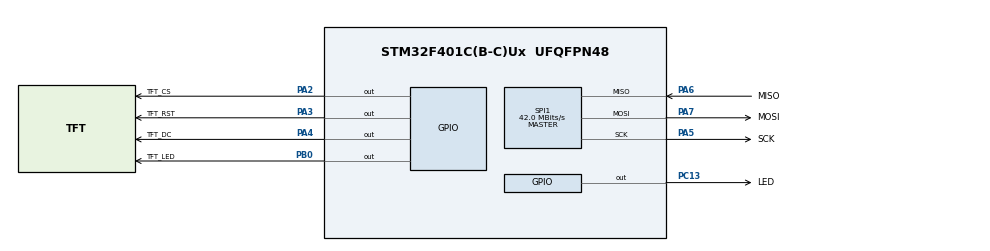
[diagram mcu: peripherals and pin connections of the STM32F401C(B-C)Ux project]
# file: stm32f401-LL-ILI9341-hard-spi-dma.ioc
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Dma.Request0=SPI1_TX
Dma.Request1=SPI1_RX
Dma.SPI1_RX.1.Direction=DMA_PERIPH_TO_MEMORY
Dma.SPI1_RX.1.FIFOMode=DMA_FIFOMODE_DISABLE
Dma.SPI1_RX.1.Instance=DMA2_Stream2
Dma.SPI1_RX.1.MemDataAlignment=DMA_MDATAALIGN_BYTE
Dma.SPI1_RX.1.MemInc=DMA_MINC_ENABLE
Dma.SPI1_RX.1.Mode=DMA_CIRCULAR
Dma.SPI1_RX.1.PeriphDataAlignment=DMA_PDATAALIGN_BYTE
Dma.SPI1_RX.1.PeriphInc=DMA_PINC_DISABLE
Dma.SPI1_RX.1.Priority=DMA_PRIORITY_LOW
Dma.SPI1_TX.0.Direction=DMA_MEMORY_TO_PERIPH
Dma.SPI1_TX.0.FIFOMode=DMA_FIFOMODE_DISABLE
Dma.SPI1_TX.0.Instance=DMA2_Stream3
Dma.SPI1_TX.0.MemDataAlignment=DMA_MDATAALIGN_BYTE
Dma.SPI1_TX.0.MemInc=DMA_MINC_ENABLE
Dma.SPI1_TX.0.Mode=DMA_CIRCULAR
Dma.SPI1_TX.0.PeriphDataAlignment=DMA_PDATAALIGN_BYTE
Dma.SPI1_TX.0.PeriphInc=DMA_PINC_DISABLE
Dma.SPI1_TX.0.Priority=DMA_PRIORITY_LOW
Mcu.Family=STM32F4
Mcu.Name=STM32F401C(B-C)Ux
Mcu.Package=UFQFPN48
NVIC.DMA2_Stream2_IRQn=true\:0\:0\:false\:false\:true\:false\:true
NVIC.DMA2_Stream3_IRQn=true\:0\:0\:false\:false\:true\:false\:true
NVIC.PriorityGroup=NVIC_PRIORITYGROUP_4
NVIC.SPI1_IRQn=true\:0\:0\:false\:false\:true\:true\:true
PA2.GPIO_Label=TFT_CS
PA2.Signal=GPIO_Output
PA3.GPIO_Label=TFT_RST
PA3.Signal=GPIO_Output
PA4.GPIO_Label=TFT_DC
PA4.Signal=GPIO_Output
PA5.GPIO_Label=SCK
PA5.Mode=Full_Duplex_Master
PA5.Signal=SPI1_SCK
PA6.GPIO_Label=MISO
PA6.Mode=Full_Duplex_Master
PA6.Signal=SPI1_MISO
PA7.GPIO_Label=MOSI
PA7.Mode=Full_Duplex_Master
PA7.Signal=SPI1_MOSI
PB0.GPIO_Label=TFT_LED
PB0.Signal=GPIO_Output
PC13-ANTI_TAMP.GPIO_Label=LED
PC13-ANTI_TAMP.Signal=GPIO_Output
ProjectManager.HeapSize=0x2000
ProjectManager.StackSize=0x2000
ProjectManager.TargetToolchain=Makefile
RCC.48MHZClocksFreq_Value=42000000
RCC.AHBFreq_Value=84000000
RCC.APB1CLKDivider=RCC_HCLK_DIV2
RCC.APB1Freq_Value=42000000
RCC.APB1TimFreq_Value=84000000
RCC.APB2Freq_Value=84000000
RCC.APB2TimFreq_Value=84000000
RCC.CortexFreq_Value=84000000
RCC.HCLKFreq_Value=84000000
RCC.HSE_VALUE=25000000
RCC.HSI_VALUE=16000000
RCC.LSE_VALUE=32768
RCC.PLLM=8
RCC.PLLN=84
RCC.SYSCLKFreq_VALUE=84000000
RCC.SYSCLKSource=RCC_SYSCLKSOURCE_PLLCLK
RCC.VCOOutputFreq_Value=168000000
SPI1.BaudRatePrescaler=SPI_BAUDRATEPRESCALER_2
SPI1.CalculateBaudRate=42.0 MBits/s
SPI1.Direction=SPI_DIRECTION_2LINES
SPI1.Mode=SPI_MODE_MASTER
SPI1.VirtualType=VM_MASTER
board=custom

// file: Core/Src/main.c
/* USER CODE BEGIN Header */
/**
  ******************************************************************************
  * @file           : main.c
  * @brief          : Main program body
  ******************************************************************************
  * @attention
  *
  * <h2><center>&copy; Copyright (c) 2020 STMicroelectronics.
  * All rights reserved.</center></h2>
  *
  * This software component is licensed by ST under BSD 3-Clause license,
  * the "License"; You may not use this file except in compliance with the
  * License. You may obtain a copy of the License at:
  *                        opensource.org/licenses/BSD-3-Clause
  *
  ******************************************************************************
  */
/* USER CODE END Header */
#include "main.h"
#include "dma.h"
#include "spi.h"
#include "gpio.h"

/* USER CODE BEGIN Includes */
#include "stm32_tick.h"
#include "ll_spi_ili9341.h"
/* USER CODE END Includes */

/* USER CODE BEGIN PD */
#ifdef SEMIHOSTING_ENABLE
#include "stdio.h"
extern void initialise_monitor_handles(void);
#endif
/* USER CODE END PD */

/* USER CODE BEGIN PV */
extern uint16_t dsp_width;
extern uint16_t dsp_height;
/* USER CODE END PV */

void SystemClock_Config(void);
/* USER CODE BEGIN PFP */
void CalcAndDisplayFractal(int16_t offset_x, int16_t offset_y, uint16_t zoom);
/* USER CODE END PFP */

/* USER CODE BEGIN 0 */

void test(void)
{
  dsp_fill_screen(DSP_BLACK);
  for(uint16_t i=0; i<0xffff; i+=0x1111)
  {
    dsp_fill_screen(i);
  }
  // --
  dsp_fill_screen(DSP_BLACK);
  for(uint16_t i =0; i<300; i++)
  {
    fillRoundRect(rand16()%dsp_width,
                  rand16()%dsp_height,
                  rand16()%dsp_width,
                  rand16()%dsp_height,
                  10,
                  rand16());
    delay_ms(1);
  }
  for(uint16_t i =0; i<300; i++)
  {
    fillTriangle(rand16()%dsp_width,
                 rand16()%dsp_height,
                 rand16()%dsp_width,
                 rand16()%dsp_height,
                 rand16()%dsp_width,
                 rand16()%dsp_height,
                 rand16());
    delay_ms(1);
  }
  delay_ms(1e3);
  for(uint16_t i =0; i<300; i++)
  {
    FillEllipse( rand16()%dsp_width,
                 rand16()%dsp_height,
                 (rand16()%dsp_width)/4,
                 (rand16()%dsp_height)/4,
                 rand16());
    delay_ms(1);
  }
  delay_ms(1e3);
  // --
  dsp_fill_screen(DSP_BLACK);
  for(uint16_t i=0; i<0xffff; i+=0x1111)
  {
    dsp_fill_rect(0, 0, dsp_width/2-1, dsp_height/2-1, rand16());
    delay_ms(1);
    dsp_fill_rect(dsp_width/2, 0, dsp_width-1, dsp_height/2-1, rand16());
    delay_ms(1);
    dsp_fill_rect(0, dsp_height/2, dsp_width/2-1, dsp_height-1, rand16());
    delay_ms(1);
    dsp_fill_rect(dsp_width/2, dsp_height/2, dsp_width-1, dsp_height-1, i);
    delay_ms(1);
  }
  delay_ms(1e3);
  // --
  dsp_fill_screen(DSP_BLACK);
  for(uint32_t i=0;i<1e4L;i++)
  {
    for(uint8_t j=0;j<2;j++)
    {
      dsp_draw_pixel(rand16()%dsp_width, rand16()%dsp_height, DSP_BLACK);
    }
    dsp_draw_pixel(rand16()%dsp_width, rand16()%dsp_height, rand16());
    delay_us(1);
  }
  delay_ms(1e3);
  // --
  for(uint8_t j=0;j<16;j++)
  {
    for(uint16_t i=0;i<dsp_width;i++)
    {
      dsp_draw_line(i,0,i,dsp_height-1,rand16());
      delay_us(10);
    }
  }
  delay_ms(1e3);
  // --
  dsp_fill_screen(DSP_BLACK);
  for(uint16_t i=0;i<2e3;i++)
  {
    dsp_draw_line(rand16()%dsp_width, rand16()%dsp_height,
                     rand16()%dsp_width, rand16()%dsp_height,
                     rand16());
    delay_us(100);
  }
  delay_ms(1e3);
  // --
  dsp_fill_screen(DSP_BLACK);
  dsp_set_rotation(0);
  for(uint8_t j=0;j<48;j++)
  {
    for(uint16_t i=0;i<dsp_width/2;i++)
    {
      dsp_draw_rect(i, i, dsp_width-(i<<1), dsp_height-(i<<1), rand16());
      delay_ms(1);
    }
  }
  delay_ms(1e3);
  // --
  dsp_fill_screen(DSP_BLACK);
  for(uint16_t i=0;i<2e3;i++)
  {
    dsp_draw_circle(rand16()%(dsp_width-40)+20, rand16()%(dsp_height-40)+20, rand16()>>10, rand16());
    delay_ms(1);
  }
  delay_ms(1e3);
  // --
  dsp_fill_screen(DSP_BLACK);
  for(uint16_t i=0;i<500;i++)
  {
    fillCircle(rand16()%(dsp_width-40)+20, rand16()%(dsp_height-40)+20, rand16()>>10, rand16());
    delay_ms(1);
  }
  delay_ms(1e3);
  // --
  for(uint16_t i=0;i<4;i++)
  {
    LL_GPIO_TogglePin(LED_GPIO_Port, LED_Pin);
    // --
    dsp_set_rotation(i%4);
    dsp_fill_screen(DSP_BLACK);
    // --
    dsp_set_text_color(DSP_YELLOW);
    dsp_set_back_color(DSP_BLUE);
    dsp_set_font(&Font24);
    dsp_draw_char(10,10,'S');
    dsp_draw_char(27,10,('t'));
    dsp_draw_char(44,10,('m'));
    dsp_draw_char(61,10,('3'));
    dsp_draw_char(78,10,('2'));
    dsp_set_text_color(DSP_GREEN);
    dsp_set_back_color(DSP_RED);
    dsp_set_font(&Font20);
    dsp_draw_char(10,34,('S'));
    dsp_draw_char(24,34,('t'));
    dsp_draw_char(38,34,('m'));
    dsp_draw_char(52,34,('3'));
    dsp_draw_char(66,34,('2'));
    dsp_set_text_color(DSP_BLUE);
    dsp_set_back_color(DSP_YELLOW);
    dsp_set_font(&Font16);
    dsp_draw_char(10,54,('S'));
    dsp_draw_char(21,54,('t'));
    dsp_draw_char(32,54,('m'));
    dsp_draw_char(43,54,('3'));
    dsp_draw_char(54,54,('2'));
    dsp_set_text_color(DSP_CYAN);
    dsp_set_back_color(DSP_BLACK);
    dsp_set_font(&Font12);
    dsp_draw_char(10,70,('S'));
    dsp_draw_char(17,70,('t'));
    dsp_draw_char(24,70,('m'));
    dsp_draw_char(31,70,('3'));
    dsp_draw_char(38,70,('2'));
    dsp_set_text_color(DSP_RED);
    dsp_set_back_color(DSP_GREEN);
    dsp_set_font(&Font8);
    dsp_draw_char(10,82,('S'));
    dsp_draw_char(15,82,('t'));
    dsp_draw_char(20,82,('m'));
    dsp_draw_char(25,82,('3'));
    dsp_draw_char(30,82,('2'));
    delay_ms(1e3);
    // --
    dsp_fill_screen(DSP_BLACK);
    dsp_set_text_color(DSP_CYAN);
    dsp_set_back_color(DSP_BLACK);
    dsp_set_font(&Font24);
    dsp_string(1,100,"ABCDEF12345678");
    dsp_set_font(&Font20);
    dsp_string(1,124,"ABCDEFGHI12345678");
    dsp_set_font(&Font16);
    dsp_string(1,144,"ABCDEFGHIKL123456789");
    dsp_set_font(&Font12);
    dsp_string(1,160,"ABCDEFGHIKLMNOPQRSTUVWXY 123456789");
    dsp_set_font(&Font8);
    dsp_string(1,172,"ABCDEFGHIKLMNOPQRSTUVWXYZ 123456789ABCDEFGHIKL");
    delay_ms(1e3);
  }
  // --
}

static inline long
map(long x, long in_min, long in_max, long out_min, long out_max)
{
  return (x - in_min) * (out_max - out_min) / (in_max - in_min) + out_min;
}

unsigned int rainbow(int value)
{
  // Value is expected to be in range 0-127
  // The value is converted to a spectrum colour from 0 = blue through to red = blue
  // nt value = random (128);
  uint8_t red = 0; // Red is the top 5 bits of a 16 bit colour value
  uint8_t green = 0;// Green is the middle 6 bits
  uint8_t blue = 0; // Blue is the bottom 5 bits
  uint8_t quadrant = value / 32;
  if (quadrant == 0)
  {
    blue = 31;
    green = 2 * (value % 32);
    red = 0;
  }
  if (quadrant == 1)
  {
    blue = 31 - (value % 32);
    green = 63;
    red = 0;
  }
  if (quadrant == 2)
  {
    blue = 0;
    green = 63;
    red = value % 32;
  }
  if (quadrant == 3)
  {
    blue = 0;
    green = 63 - 2 * (value % 32);
    red = 31;
  }
  return (red << 11) + (green << 5) + blue;
}

void drawMandelbrot(void)
{
  for (int px = 1; px < 320; px++)
  {
    for (int py = 0; py < 240; py++)
    {
      float x0 = (map(px, 0, 320, -250000/2, -242500/2)) / 100000.0; // caled x coordinate of pixel (scaled to lie in the Mandelbrot X scale (-2.5, 1))
      float yy0 = (map(py, 0, 240, -70000/4, -60000/4)) / 100000.0; // 00000.0; -75000/4, -61000/4 // caled y coordinate of pixel (scaled to lie in the Mandelbrot Y scale (-1, 1))
      float xx = 0.0;
      float yy = 0.0;
      int iteration = 0;
      int max_iteration = 128;
      while ( ((xx * xx + yy * yy) < 4) && (iteration < max_iteration) )
      {
        float xtemp = xx * xx - yy * yy + x0;
        yy = 2 * xx * yy + yy0;
        xx = xtemp;
        iteration++;
      }
      int color = rainbow((3*iteration)%128);
      dsp_draw_pixel(px, py, color);
    }
  }
}

void drawMandelbrotAlternative(const uint16_t scale, const uint16_t iterations, const float c_re_0, const float c_im_0)
{
  const uint16_t height = 240;
  const uint8_t halfHeight = height/2;
  const uint16_t width = 320;
  const uint8_t halfWidth = 200;
  const float scaleFactor = 4.0 / width / scale;
  const float halfIterations = iterations / 2;

  uint16_t color;
  uint16_t color_inside;
  uint16_t color_midle;
  char isInside = 1;
  float c_re, c_im, z_re, z_re_temp, z_im_temp, z_im, n;
  uint16_t y, x;
  // --
  color = rand16();
  color_midle = rand16();
  color_inside = rand16();
  // --
  for (y = 0; y < height; y++)
  {
    c_im = (y - halfHeight) * scaleFactor + c_im_0;
    for (x = 0; x < width; x++)
    {
      c_re = (x - halfWidth) * scaleFactor + c_re_0;
      z_re = 0;
      z_re_temp = 0;
      z_im_temp = 0;
      z_im = 0;
      isInside = 1;
      for (n = 0; n < iterations; n++)
      {
        z_re_temp = z_re * z_re;
        z_im_temp = z_im * z_im;
        if (z_re_temp + z_im_temp > 4)
        {
          isInside = 0;
          break;
        }
        z_im = 2 * z_re * z_im + c_im;
        z_re = z_re_temp - z_im_temp + c_re;
      }
      if (isInside)
      {
        dsp_draw_pixel(x, y, color_inside);
      }
      else if (n > halfIterations)
      {
        dsp_draw_pixel(x, y, color_midle);
      }
      else
      {
        dsp_draw_pixel(x, y, color);
      }
    }
  }
}

/* USER CODE END 0 */

int main(void)
{
  /* USER CODE BEGIN 1 */
#ifdef SEMIHOSTING_ENABLE
  initialise_monitor_handles();
#endif

    #ifdef SEMIHOSTING_ENABLE
    printf("\nhello printf\n");
    puts("hello puts");
    delay_ms(100);
    printf("hello printf\n");
    printf("hello world!\n");
    delay_ms(100);
    #endif

  /* USER CODE END 1 */

  /* MCU Configuration--------------------------------------------------------*/

  /* Reset of all peripherals, Initializes the Flash interface and the Systick. */

  LL_APB2_GRP1_EnableClock(LL_APB2_GRP1_PERIPH_SYSCFG);
  LL_APB1_GRP1_EnableClock(LL_APB1_GRP1_PERIPH_PWR);

  NVIC_SetPriorityGrouping(NVIC_PRIORITYGROUP_4);

  /* System interrupt init*/

  /* Configure the system clock */
  SystemClock_Config();

  /* USER CODE BEGIN SysInit */
  ticks_init(); // init chronometry
  ticks_set(0); // start chronometry
  /* USER CODE END SysInit */

  /* Initialize all configured peripherals */
  MX_GPIO_Init();
  MX_DMA_Init();
  MX_SPI1_Init();
  /* USER CODE BEGIN 2 */
  LL_DMA_DisableStream(DMA2, 3);
  LL_DMA_ClearFlag_TC3(DMA2);
  LL_DMA_ClearFlag_TE3(DMA2);
  LL_SPI_EnableDMAReq_TX(SPI1);
  LL_DMA_EnableIT_TC(DMA2, 3);
  LL_DMA_EnableIT_TE(DMA2, 3);
  LL_SPI_Enable(SPI1);
  dsp_ini(240, 320);

  uint16_t globalScale = 1;
  float c_re_0 = 0;
  float c_im_0 = 0;

  for(uint8_t i=0;i<20;i++)
  {
    LL_GPIO_TogglePin(LED_GPIO_Port, LED_Pin);
    delay_ms(25);
  }
  // --
  dsp_fill_screen(DSP_BLACK);
  /* USER CODE END 2 */

  /* Infinite loop */
  /* USER CODE BEGIN WHILE */
  dsp_set_rotation(1);
  while (1)
  {
    test();
    drawMandelbrot();
    // --
    for(uint8_t i=6;i<12;i++)
    {
      drawMandelbrotAlternative(globalScale, 10, c_re_0, c_im_0);
    }
    /* USER CODE END WHILE */

  }
}

void SystemClock_Config(void)
{
  LL_FLASH_SetLatency(LL_FLASH_LATENCY_2);
  while(LL_FLASH_GetLatency()!= LL_FLASH_LATENCY_2)
  {
  }
  LL_PWR_SetRegulVoltageScaling(LL_PWR_REGU_VOLTAGE_SCALE2);
  LL_RCC_HSI_SetCalibTrimming(16);
  LL_RCC_HSI_Enable();

   /* Wait till HSI is ready */
  while(LL_RCC_HSI_IsReady() != 1)
  {

  }
  LL_RCC_PLL_ConfigDomain_SYS(LL_RCC_PLLSOURCE_HSI, LL_RCC_PLLM_DIV_8, 84, LL_RCC_PLLP_DIV_2);
  LL_RCC_PLL_Enable();

   /* Wait till PLL is ready */
  while(LL_RCC_PLL_IsReady() != 1)
  {

  }
  LL_RCC_SetAHBPrescaler(LL_RCC_SYSCLK_DIV_1);
  LL_RCC_SetAPB1Prescaler(LL_RCC_APB1_DIV_2);
  LL_RCC_SetAPB2Prescaler(LL_RCC_APB2_DIV_1);
  LL_RCC_SetSysClkSource(LL_RCC_SYS_CLKSOURCE_PLL);

   /* Wait till System clock is ready */
  while(LL_RCC_GetSysClkSource() != LL_RCC_SYS_CLKSOURCE_STATUS_PLL)
  {

  }
  LL_Init1msTick(84000000);
  LL_SetSystemCoreClock(84000000);
  LL_RCC_SetTIMPrescaler(LL_RCC_TIM_PRESCALER_TWICE);
}

/* USER CODE BEGIN 4 */
//-----------------------------------------------

//-----------------------------------------------
/* USER CODE END 4 */

void Error_Handler(void)
{
}

/************************ (C) COPYRIGHT STMicroelectronics *****END OF FILE****/
